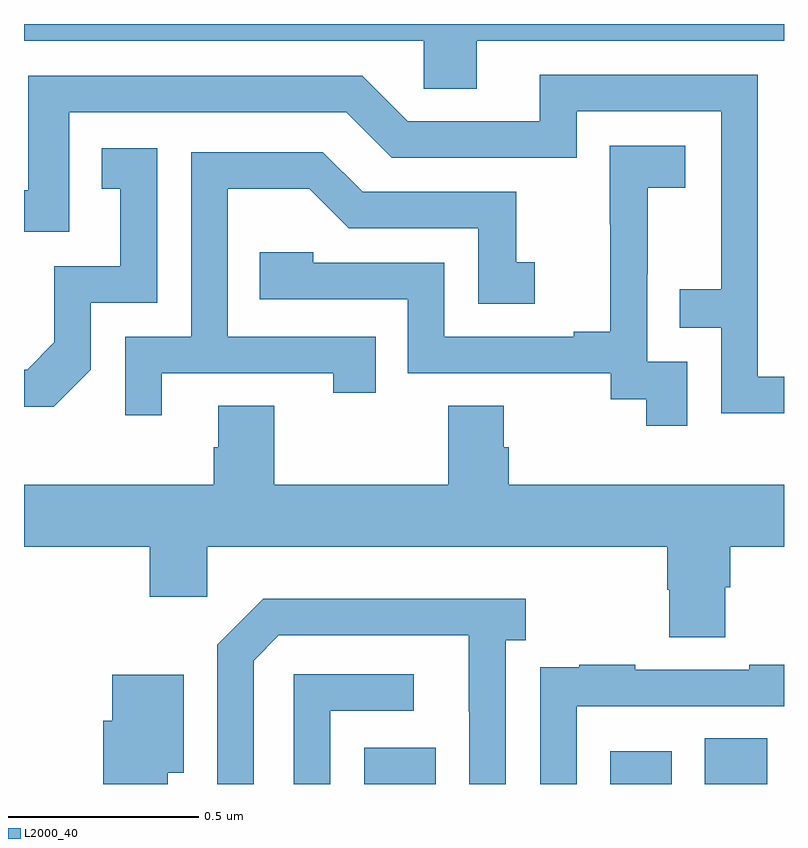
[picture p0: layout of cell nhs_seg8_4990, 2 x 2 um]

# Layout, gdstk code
import gdstk
lib = gdstk.Library(unit=1e-6, precision=1e-09)
def R(c, l, rs):  # rectangles x0, y0, x1, y1
    for r in rs: c.add(gdstk.rectangle(r[:2], r[2:], *l))
def P(c, l, *ps):  # polygons
    for p in ps: c.add(gdstk.Polygon(p, *l))
L2000_40 = (2000, 40)

nhs_seg8_4990 = lib.new_cell('nhs_seg8_4990')
R(nhs_seg8_4990, L2000_40, [(178.895,1091.9,179.083,1091.995), (179.543,1091.9,179.704,1091.986), (179.792,1091.9,179.956,1092.02)])
P(nhs_seg8_4990, L2000_40, [(179.191,1093.856),(180,1093.856),(180,1093.9),(178,1093.9),(178,1093.856),(179.052,1093.856),(179.052,1093.729),(179.191,1093.729)],
  [(180,1092.972),(179.931,1092.972),(179.931,1093.767),(179.357,1093.767),(179.357,1093.644),(179.01,1093.644),(178.89,1093.764),(178.011,1093.764),(178.011,1093.462),(178,1093.462),(178,1093.353),(178.119,1093.353),(178.119,1093.668),(178.848,1093.668),(178.968,1093.548),(179.454,1093.548),(179.454,1093.671),(179.835,1093.671),(179.835,1093.202),(179.725,1093.202),(179.725,1093.101),(179.835,1093.101),(179.835,1092.876),(180,1092.876)],
  [(179.745,1093.011),(179.64,1093.011),(179.64,1093.241),(179.642,1093.241),(179.642,1093.469),(179.74,1093.469),(179.74,1093.579),(179.542,1093.579),(179.542,1093.373),(179.543,1093.373),(179.543,1093.09),(179.447,1093.09),(179.447,1093.077),(179.106,1093.077),(179.106,1093.272),(178.761,1093.272),(178.761,1093.299),(178.621,1093.299),(178.621,1093.176),(179.01,1093.176),(179.01,1092.981),(179.544,1092.981),(179.544,1092.913),(179.637,1092.913),(179.637,1092.843),(179.745,1092.843)],
  [(178.176,1092.99),(178.176,1093.167),(178.35,1093.167),(178.35,1093.573),(178.204,1093.573),(178.204,1093.467),(178.253,1093.467),(178.253,1093.263),(178.08,1093.263),(178.08,1093.062),(178.008,1092.99),(178,1092.99),(178,1092.893),(178.078,1092.893)],
  [(178.363,1092.981),(178.814,1092.981),(178.814,1092.93),(178.925,1092.93),(178.925,1093.077),(178.536,1093.077),(178.536,1093.466),(178.75,1093.466),(178.854,1093.362),(179.196,1093.362),(179.196,1093.164),(179.344,1093.164),(179.344,1093.273),(179.295,1093.273),(179.295,1093.458),(178.891,1093.458),(178.786,1093.563),(178.44,1093.563),(178.44,1093.077),(178.266,1093.077),(178.266,1092.87),(178.363,1092.87)],
  [(179.845,1092.418),(179.858,1092.418),(179.858,1092.524),(180,1092.524),(180,1092.688),(179.276,1092.688),(179.276,1092.786),(179.263,1092.786),(179.263,1092.896),(179.116,1092.896),(179.116,1092.688),(178.659,1092.688),(178.659,1092.896),(178.511,1092.896),(178.511,1092.786),(178.499,1092.786),(178.499,1092.688),(178,1092.688),(178,1092.524),(178.331,1092.524),(178.331,1092.393),(178.482,1092.393),(178.482,1092.524),(179.693,1092.524),(179.693,1092.411),(179.698,1092.411),(179.698,1092.286),(179.845,1092.286)],
  [(178.605,1092.225),(178.671,1092.291),(179.171,1092.291),(179.171,1092.091),(179.172,1092.091),(179.172,1091.9),(179.268,1091.9),(179.268,1092.278),(179.32,1092.278),(179.32,1092.388),(178.63,1092.388),(178.509,1092.267),(178.509,1091.9),(178.605,1091.9)],
  [(179.454,1092.105),(180,1092.105),(180,1092.214),(179.909,1092.214),(179.909,1092.201),(179.609,1092.201),(179.609,1092.214),(179.461,1092.214),(179.461,1092.207),(179.359,1092.207),(179.359,1092.098),(179.358,1092.098),(179.358,1091.9),(179.454,1091.9)],
  [(178.806,1092.093),(179.026,1092.093),(179.026,1092.189),(178.71,1092.189),(178.71,1091.9),(178.806,1091.9)],
  [(178.378,1091.93),(178.42,1091.93),(178.42,1092.187),(178.232,1092.187),(178.232,1092.066),(178.208,1092.066),(178.208,1091.9),(178.378,1091.9)])

lib.write_gds('nhs_seg8_4990.gds')
